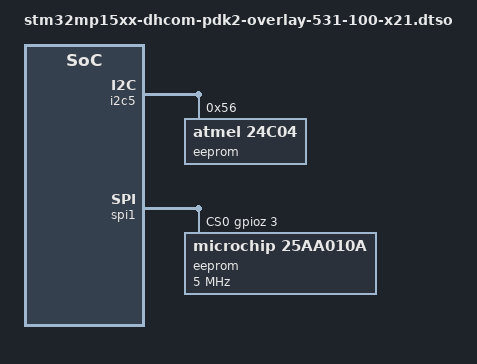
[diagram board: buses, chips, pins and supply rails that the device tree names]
// SPDX-License-Identifier: (GPL-2.0+ OR BSD-3-Clause)
/*
 * Copyright (C) 2020 Marek Vasut
 */
/dts-v1/;
/plugin/;

&i2c5 {
	#address-cells = <1>;
	#size-cells = <0>;

	eeprom@56 {
		compatible = "atmel,24c04";
		reg = <0x56>;
		pagesize = <16>;
	};
};

&spi1 {
	pinctrl-names = "default";
	pinctrl-0 = <&spi1_pins_a>;
	status = "okay";
	cs-gpios = <&gpioz 3 0>;
	#address-cells = <1>;
	#size-cells = <0>;

	eeprom@0 {
		compatible = "microchip,25aa010a", "atmel,at25";
		reg = <0>;
		address-width = <8>;
		pagesize = <16>;
		size = <128>;
		spi-max-frequency = <5000000>;
	};
};
